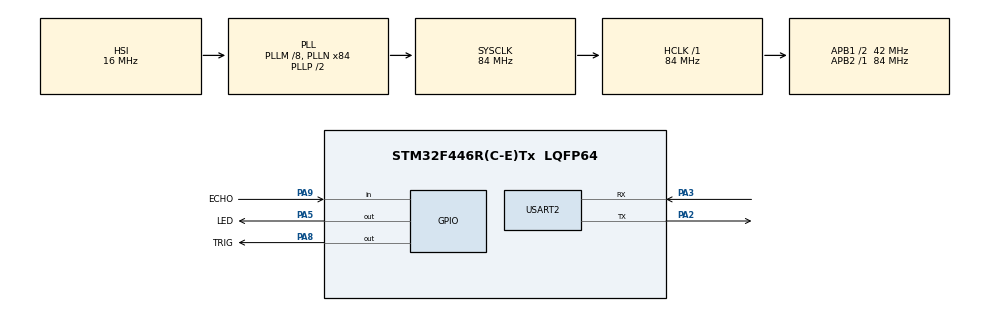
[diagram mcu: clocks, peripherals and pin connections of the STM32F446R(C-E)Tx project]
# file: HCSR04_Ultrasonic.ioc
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Mcu.Family=STM32F4
Mcu.Name=STM32F446R(C-E)Tx
Mcu.Package=LQFP64
NVIC.PriorityGroup=NVIC_PRIORITYGROUP_4
PA2.Mode=Asynchronous
PA2.Signal=USART2_TX
PA3.Mode=Asynchronous
PA3.Signal=USART2_RX
PA5.GPIO_Label=LED
PA5.Signal=GPIO_Output
PA8.GPIO_Label=TRIG
PA8.Signal=GPIO_Output
PA9.GPIO_Label=ECHO
PA9.Signal=GPIO_Input
ProjectManager.HeapSize=0x200
ProjectManager.StackSize=0x400
ProjectManager.TargetToolchain=STM32CubeIDE
RCC.AHBFreq_Value=84000000
RCC.APB1CLKDivider=RCC_HCLK_DIV2
RCC.APB1Freq_Value=42000000
RCC.APB1TimFreq_Value=84000000
RCC.APB2Freq_Value=84000000
RCC.APB2TimFreq_Value=84000000
RCC.CortexFreq_Value=84000000
RCC.HCLKFreq_Value=84000000
RCC.PLLM=8
RCC.PLLN=84
RCC.SYSCLKFreq_VALUE=84000000
RCC.SYSCLKSource=RCC_SYSCLKSOURCE_PLLCLK
RCC.USBFreq_Value=84000000
RCC.VCOOutputFreq_Value=168000000
TIM4.Prescaler=84-1
USART2.VirtualMode=VM_ASYNC
VP_TIM4_VS_ClockSourceINT.Mode=Internal
board=custom

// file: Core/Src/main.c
/* USER CODE BEGIN Header */
/**
  ******************************************************************************
  * @file           : main.c
  * @brief          : Main program body
  ******************************************************************************
  * @attention
  *
  * Copyright (c) 2026 STMicroelectronics.
  * All rights reserved.
  *
  * This software is licensed under terms that can be found in the LICENSE file
  * in the root directory of this software component.
  * If no LICENSE file comes with this software, it is provided AS-IS.
  *
  ******************************************************************************
  */
/* USER CODE END Header */
#include "main.h"

/* USER CODE BEGIN Includes */
#include <string.h>
#include <stdio.h>
/* USER CODE END Includes */

/* USER CODE BEGIN PTD */
#define usTIM TIM4
/* USER CODE END PTD */

TIM_HandleTypeDef htim4;

UART_HandleTypeDef huart2;

void SystemClock_Config(void);
static void MX_GPIO_Init(void);
static void MX_TIM4_Init(void);
static void MX_USART2_UART_Init(void);
/* USER CODE BEGIN PFP */
void usDelay(uint32_t uSec);
/* USER CODE END PFP */

/* USER CODE BEGIN 0 */
//speed of sound in cm/usec
const float speedOfSound = 0.0343/2;
float distance;
char uartBuf[100];
/* USER CODE END 0 */

int main(void)
{

  /* USER CODE BEGIN 1 */
   uint32_t numTicks = 0;
  /* USER CODE END 1 */

  /* MCU Configuration--------------------------------------------------------*/

  /* Reset of all peripherals, Initializes the Flash interface and the Systick. */
  HAL_Init();

  /* Configure the system clock */
  SystemClock_Config();

  /* Initialize all configured peripherals */
  MX_GPIO_Init();
  MX_TIM4_Init();
  MX_USART2_UART_Init();

  /* Infinite loop */
  while (1)
  {

    /* USER CODE BEGIN 3 */
	  //set TRIG to LOW for few uSec
	   HAL_GPIO_WritePin(TRIG_GPIO_Port, TRIG_Pin, GPIO_PIN_RESET);
	   usDelay(3);
	                    //1. Output 10 usec TRIG
	   	  				HAL_GPIO_WritePin(TRIG_GPIO_Port, TRIG_Pin, GPIO_PIN_SET);
	   	  				usDelay(10);
	   	  				HAL_GPIO_WritePin(TRIG_GPIO_Port, TRIG_Pin, GPIO_PIN_RESET);

	   	 	//2. Wait for ECHO pin rising edge
	   	  				  				while(HAL_GPIO_ReadPin(ECHO_GPIO_Port, ECHO_Pin) == GPIO_PIN_RESET);

	   	  				  				//3. Start measuring ECHO pulse width in usec
	   	  				  				numTicks = 0;
	   	  				  				while(HAL_GPIO_ReadPin(ECHO_GPIO_Port, ECHO_Pin) == GPIO_PIN_SET)
	   	  				  				{
	   	  				  					numTicks++;
	   	  				  					usDelay(2); //2.8usec
	   	  				  				};
	   	  				  			//4. Estimate distance in cm
	   	  				  				  				distance = (numTicks + 0.0f)*2.8*speedOfSound;
	   	  				  				  		//5. Print to UART terminal for debugging
	   	  				  				  			  				sprintf(uartBuf, "Distance (cm)  = %.1f\r\n", distance);
	   	  				  				  			  				HAL_UART_Transmit(&huart2, (uint8_t *)uartBuf, strlen(uartBuf), 100);

	   	  				  				  			  				HAL_Delay(1000);

	   	  				  				  			  			  if (distance <= 20.0f)
	   	  				  				  			  			        {
	   	  				  				  			  			            HAL_GPIO_WritePin(LED_GPIO_Port, LED_Pin, GPIO_PIN_SET);
	   	  				  				  			  			        }
	   	  				  				  			  			        else
	   	  				  				  			  			        {
	   	  				  				  			  			            HAL_GPIO_WritePin(LED_GPIO_Port, LED_Pin, GPIO_PIN_RESET);
	   	  				  				  			  			        }

  }
  /* USER CODE END 3 */
}

void SystemClock_Config(void)
{
  RCC_OscInitTypeDef RCC_OscInitStruct = {0};
  RCC_ClkInitTypeDef RCC_ClkInitStruct = {0};

  /** Configure the main internal regulator output voltage
  */
  __HAL_RCC_PWR_CLK_ENABLE();
  __HAL_PWR_VOLTAGESCALING_CONFIG(PWR_REGULATOR_VOLTAGE_SCALE3);

  /** Initializes the RCC Oscillators according to the specified parameters
  * in the RCC_OscInitTypeDef structure.
  */
  RCC_OscInitStruct.OscillatorType = RCC_OSCILLATORTYPE_HSI;
  RCC_OscInitStruct.HSIState = RCC_HSI_ON;
  RCC_OscInitStruct.HSICalibrationValue = RCC_HSICALIBRATION_DEFAULT;
  RCC_OscInitStruct.PLL.PLLState = RCC_PLL_ON;
  RCC_OscInitStruct.PLL.PLLSource = RCC_PLLSOURCE_HSI;
  RCC_OscInitStruct.PLL.PLLM = 8;
  RCC_OscInitStruct.PLL.PLLN = 84;
  RCC_OscInitStruct.PLL.PLLP = RCC_PLLP_DIV2;
  RCC_OscInitStruct.PLL.PLLQ = 2;
  RCC_OscInitStruct.PLL.PLLR = 2;
  if (HAL_RCC_OscConfig(&RCC_OscInitStruct) != HAL_OK)
  {
    Error_Handler();
  }

  /** Initializes the CPU, AHB and APB buses clocks
  */
  RCC_ClkInitStruct.ClockType = RCC_CLOCKTYPE_HCLK|RCC_CLOCKTYPE_SYSCLK
                              |RCC_CLOCKTYPE_PCLK1|RCC_CLOCKTYPE_PCLK2;
  RCC_ClkInitStruct.SYSCLKSource = RCC_SYSCLKSOURCE_PLLCLK;
  RCC_ClkInitStruct.AHBCLKDivider = RCC_SYSCLK_DIV1;
  RCC_ClkInitStruct.APB1CLKDivider = RCC_HCLK_DIV2;
  RCC_ClkInitStruct.APB2CLKDivider = RCC_HCLK_DIV1;

  if (HAL_RCC_ClockConfig(&RCC_ClkInitStruct, FLASH_LATENCY_2) != HAL_OK)
  {
    Error_Handler();
  }
}

static void MX_TIM4_Init(void)
{

  TIM_ClockConfigTypeDef sClockSourceConfig = {0};
  TIM_MasterConfigTypeDef sMasterConfig = {0};

  htim4.Instance = TIM4;
  htim4.Init.Prescaler = 84-1;
  htim4.Init.CounterMode = TIM_COUNTERMODE_UP;
  htim4.Init.Period = 65535;
  htim4.Init.ClockDivision = TIM_CLOCKDIVISION_DIV1;
  htim4.Init.AutoReloadPreload = TIM_AUTORELOAD_PRELOAD_DISABLE;
  if (HAL_TIM_Base_Init(&htim4) != HAL_OK)
  {
    Error_Handler();
  }
  sClockSourceConfig.ClockSource = TIM_CLOCKSOURCE_INTERNAL;
  if (HAL_TIM_ConfigClockSource(&htim4, &sClockSourceConfig) != HAL_OK)
  {
    Error_Handler();
  }
  sMasterConfig.MasterOutputTrigger = TIM_TRGO_RESET;
  sMasterConfig.MasterSlaveMode = TIM_MASTERSLAVEMODE_DISABLE;
  if (HAL_TIMEx_MasterConfigSynchronization(&htim4, &sMasterConfig) != HAL_OK)
  {
    Error_Handler();
  }

}

static void MX_USART2_UART_Init(void)
{

  huart2.Instance = USART2;
  huart2.Init.BaudRate = 115200;
  huart2.Init.WordLength = UART_WORDLENGTH_8B;
  huart2.Init.StopBits = UART_STOPBITS_1;
  huart2.Init.Parity = UART_PARITY_NONE;
  huart2.Init.Mode = UART_MODE_TX_RX;
  huart2.Init.HwFlowCtl = UART_HWCONTROL_NONE;
  huart2.Init.OverSampling = UART_OVERSAMPLING_16;
  if (HAL_UART_Init(&huart2) != HAL_OK)
  {
    Error_Handler();
  }

}

static void MX_GPIO_Init(void)
{
  GPIO_InitTypeDef GPIO_InitStruct = {0};

  /* GPIO Ports Clock Enable */
  __HAL_RCC_GPIOA_CLK_ENABLE();

  /*Configure GPIO pin Output Level */
  HAL_GPIO_WritePin(GPIOA, LED_Pin|TRIG_Pin, GPIO_PIN_RESET);

  /*Configure GPIO pins : LED_Pin TRIG_Pin */
  GPIO_InitStruct.Pin = LED_Pin|TRIG_Pin;
  GPIO_InitStruct.Mode = GPIO_MODE_OUTPUT_PP;
  GPIO_InitStruct.Pull = GPIO_NOPULL;
  GPIO_InitStruct.Speed = GPIO_SPEED_FREQ_LOW;
  HAL_GPIO_Init(GPIOA, &GPIO_InitStruct);

  /*Configure GPIO pin : ECHO_Pin */
  GPIO_InitStruct.Pin = ECHO_Pin;
  GPIO_InitStruct.Mode = GPIO_MODE_INPUT;
  GPIO_InitStruct.Pull = GPIO_NOPULL;
  HAL_GPIO_Init(ECHO_GPIO_Port, &GPIO_InitStruct);

}

/* USER CODE BEGIN 4 */
void usDelay(uint32_t uSec)
{
	if(uSec < 2) uSec = 2;
	usTIM->ARR = uSec - 1; 	/*sets the value in the auto-reload register*/
	usTIM->EGR = 1; 			/*Re-initialises the timer*/
	usTIM->SR &= ~1; 		//Resets the flag
	usTIM->CR1 |= 1; 		//Enables the counter
	while((usTIM->SR&0x0001) != 1);
	usTIM->SR &= ~(0x0001);
}

/* USER CODE END 4 */

void Error_Handler(void)
{
  __disable_irq();
  while (1)
  {
  }
}
